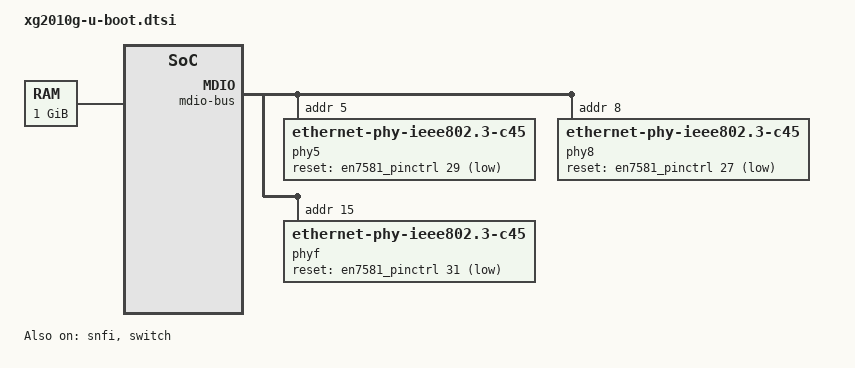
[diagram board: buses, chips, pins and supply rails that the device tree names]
// SPDX-License-Identifier: GPL-2.0+
/*
 * XG2010G U-Boot overrides (auto-included after xg2010g.dts).
 *
 * GPIO/PHY facts used by this board description:
 *   - gpio0 = gpio@1fbf0200 base 0, gpio1 = gpio@1fbf0270 base 32;
 *     phandle 0x0e/0x0f are not gpio bases.
 *   - RTL8261N resets: phy@5 = GPIO29, phy@8 = GPIO27 (active-low, C45).
 *   - EN8811H @0xf reset GPIO31 (stock preinit exports it).
 *   - NAND = Winbond W25N04K 512 MiB (0x20000000).
 */

#include "an7581-u-boot.dtsi"

/ {
	/*
	 * The stock first-stage loader does not populate RAM size for the
	 * second-stage image, so describe the verified 1 GiB layout here.
	 */
	memory@80000000 {
		device_type = "memory";
		reg = <0x0 0x80000000 0x0 0x40000000>;
	};

	/*
	 * XG2010G exposes the external RTL8261 PHYs on the FE MDIO
	 * controller (TTL L1321..1330). PHY 5 (ETH SerDes) is the 10 GbE
	 * combo LAN1/WAN jack serviced by GDM4 (hsgmii_lan_eth, eth0.8,
	 * plug test) - it is the stock WAN uplink and is NEVER a recovery
	 * port; PHY 8 (PCIE1 SerDes) is the independent RTL8261 10 GbE LAN2
	 * port serviced by GDM3 (hsgmii_lan_pcie1, eth0.7, plug test) and is
	 * a recovery port. EN8811H @0xf (USB SerDes / GDM4 nbq1) is LAN3.
	 */
	mdio-bus {
		compatible = "airoha,arht-mdio";
		#address-cells = <1>;
		#size-cells = <0>;

		phy5: ethernet-phy@5 {
			compatible = "ethernet-phy-ieee802.3-c45";
			reg = <5>;
			reset-gpios = <&en7581_pinctrl 29 GPIO_ACTIVE_LOW>;
			reset-assert-us = <40000>;
			reset-deassert-us = <150000>;
			realtek,pnswap-tx;
			realtek,pnswap-rx;
		};

		phy8: ethernet-phy@8 {
			compatible = "ethernet-phy-ieee802.3-c45";
			reg = <8>;
			reset-gpios = <&en7581_pinctrl 27 GPIO_ACTIVE_LOW>;
			reset-assert-us = <40000>;
			reset-deassert-us = <150000>;
			realtek,pnswap-tx;
			realtek,pnswap-rx;
		};

		/*
		 * LAN3 2.5G: Airoha EN8811H at MDIO addr 0xf on the FE bus
		 * (stock TTL "mdio-bus--1:0f", L1567), USB SerDes 2.5G
		 * xSGMII, reset GPIO 31 (TTL L1555 "7581 reset 8811").
		 * U-Boot has no EN8811H driver; resetting the PHY here keeps
		 * it out of download-mode hang, link check is best-effort.
		 */
		phyf: ethernet-phy@f {
			compatible = "ethernet-phy-ieee802.3-c45";
			reg = <0xf>;
			reset-gpios = <&en7581_pinctrl 31 GPIO_ACTIVE_LOW>;
			reset-assert-us = <10000>;
			reset-deassert-us = <20000>;
		};
	};
};

&snfi {
	status = "okay";
};

&switch {
	status = "okay";
	pinctrl-names = "default";
	pinctrl-0 = <&mdio_pins>;
	/*
	 * Keep the native port-to-PHY mapping: the SoC-internal GbE
	 * switch ePHYs sit at addresses 9-12 (TTL L1351..1475; only ePHY 9
	 * / LAN4 is physically wired). External PHY 5 (GDM4), PHY 8 (GDM3)
	 * and EN8811H @0xf (GDM4/USB) are serviced directly by their GDM
	 * MACs on the FE MDIO bus and must not shift the switch auto-poll
	 * window.
	 */
	airoha,phy-poll-start = <8>;
	airoha,phy-poll-end = <12>;
};
